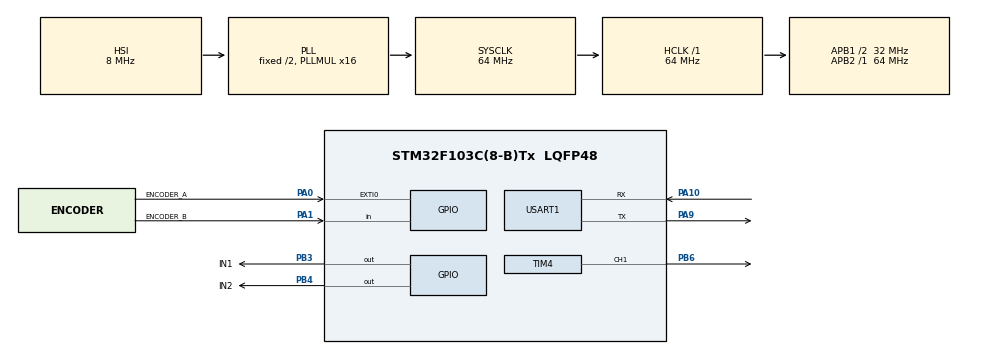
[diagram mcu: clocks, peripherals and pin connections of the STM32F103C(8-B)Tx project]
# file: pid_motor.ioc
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Dma.Request0=USART1_TX
Dma.USART1_TX.0.Direction=DMA_MEMORY_TO_PERIPH
Dma.USART1_TX.0.Instance=DMA1_Channel4
Dma.USART1_TX.0.MemDataAlignment=DMA_MDATAALIGN_BYTE
Dma.USART1_TX.0.MemInc=DMA_MINC_ENABLE
Dma.USART1_TX.0.Mode=DMA_NORMAL
Dma.USART1_TX.0.PeriphDataAlignment=DMA_PDATAALIGN_BYTE
Dma.USART1_TX.0.PeriphInc=DMA_PINC_DISABLE
Dma.USART1_TX.0.Priority=DMA_PRIORITY_LOW
Mcu.Family=STM32F1
Mcu.Name=STM32F103C(8-B)Tx
Mcu.Package=LQFP48
NVIC.DMA1_Channel4_IRQn=true\:0\:0\:false\:false\:true\:false\:true\:true
NVIC.EXTI0_IRQn=true\:1\:0\:true\:false\:true\:true\:true\:true
NVIC.PriorityGroup=NVIC_PRIORITYGROUP_4
NVIC.TIM1_UP_IRQn=true\:1\:0\:true\:false\:true\:true\:true\:true
NVIC.USART1_IRQn=true\:1\:0\:true\:false\:true\:true\:true\:true
PA0-WKUP.GPIO_Label=ENCODER_A
PA0-WKUP.GPIO_ModeDefaultEXTI=GPIO_MODE_IT_FALLING
PA0-WKUP.Signal=GPXTI0
PA1.GPIO_Label=ENCODER_B
PA1.Signal=GPIO_Input
PA10.Mode=Asynchronous
PA10.Signal=USART1_RX
PA13.Mode=Serial_Wire
PA13.Signal=SYS_JTMS-SWDIO
PA14.Mode=Serial_Wire
PA14.Signal=SYS_JTCK-SWCLK
PA9.Mode=Asynchronous
PA9.Signal=USART1_TX
PB3.GPIO_Label=IN1
PB3.GPIO_Speed=GPIO_SPEED_FREQ_HIGH
PB3.Signal=GPIO_Output
PB4.GPIO_Label=IN2
PB4.GPIO_Speed=GPIO_SPEED_FREQ_HIGH
PB4.Signal=GPIO_Output
PB6.Signal=S_TIM4_CH1
ProjectManager.HeapSize=0x200
ProjectManager.StackSize=0x400
ProjectManager.TargetToolchain=MDK-ARM V5.32
RCC.AHBFreq_Value=64000000
RCC.APB1CLKDivider=RCC_HCLK_DIV2
RCC.APB1Freq_Value=32000000
RCC.APB1TimFreq_Value=64000000
RCC.APB2Freq_Value=64000000
RCC.APB2TimFreq_Value=64000000
RCC.HCLKFreq_Value=64000000
RCC.PLLMUL=RCC_PLL_MUL16
RCC.SYSCLKFreq_VALUE=64000000
RCC.SYSCLKSource=RCC_SYSCLKSOURCE_PLLCLK
RCC.USBFreq_Value=64000000
SH.S_TIM4_CH1.0=TIM4_CH1,PWM Generation1 CH1
TIM1.Period=12800
TIM1.Prescaler=639
TIM4.Channel-PWM\ Generation1\ CH1=TIM_CHANNEL_1
TIM4.Period=99
TIM4.Prescaler=63
USART1.VirtualMode=VM_ASYNC
VP_TIM1_VS_ClockSourceINT.Mode=Internal
VP_TIM4_VS_ClockSourceINT.Mode=Internal
board=custom

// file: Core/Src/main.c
/* USER CODE BEGIN Header */
/**
  ******************************************************************************
  * @file           : main.c
  * @brief          : Main program body
  ******************************************************************************
  * @attention
  *
  * Copyright (c) 2025 STMicroelectronics.
  * All rights reserved.
  *
  * This software is licensed under terms that can be found in the LICENSE file
  * in the root directory of this software component.
  * If no LICENSE file comes with this software, it is provided AS-IS.
  *
  ******************************************************************************
  */
/* USER CODE END Header */
#include "main.h"

TIM_HandleTypeDef htim1;
TIM_HandleTypeDef htim4;

UART_HandleTypeDef huart1;
DMA_HandleTypeDef hdma_usart1_tx;

void SystemClock_Config(void);
static void MX_GPIO_Init(void);
static void MX_DMA_Init(void);
static void MX_USART1_UART_Init(void);
static void MX_TIM4_Init(void);
static void MX_TIM1_Init(void);

/* USER CODE BEGIN 0 */
void Turn_Clock_wise(void);
void Turn_Counter_Clock_wise(void);
void Stop(void);
void PWM_generate(TIM_HandleTypeDef *htim, uint32_t Channel, float duty_cycle);

#include "stdio.h"
#include "string.h"

volatile uint32_t pulse_count = 0;
volatile static  float current_pulse, prev_pulse = 0;
volatile static float speed;

volatile static float delta_t = 0.2; //Ftim
volatile float set_point = 50, Kp = 2.5, Ki = 0.2, Kd = 0.01;
volatile float output;
volatile float current_measure, err = 0, prev_err = 0;
volatile static float integral = 0, derivative = 0;

//===============Measure speed and PID handle===========================
void Speed_Control()
{
	if(output>0)
	{
		Turn_Clock_wise();
		PWM_generate(&htim4, TIM_CHANNEL_1, output);
	}
	if(output<0)
	{
		Turn_Counter_Clock_wise();
		PWM_generate(&htim4, TIM_CHANNEL_1, -output);
	}
	if(output==0)
	{
		Stop();
	}
}

void HAL_TIM_PeriodElapsedCallback(TIM_HandleTypeDef *htim)
{
	if(htim->Instance == htim1.Instance)
	{
		//Calc speed
		current_pulse = pulse_count;
		speed = ((float)(current_pulse-prev_pulse))/360/delta_t*60.0f; // RPM
		prev_pulse = current_pulse;
		//PID Handler
		current_measure = speed;
		err = set_point-current_measure;

		integral = integral+(err*delta_t);
		derivative = (err-prev_err)/delta_t;

		output = (Kp*err) + (Ki*integral) + (Kd*derivative);

		if(output > 100)
		{
			output = 100;
		}
		if(output < 0)
		{
			output = 0;
		}
		prev_err = err;
		Speed_Control();

	}
}
//===============================PWM handle================
void PWM_generate(TIM_HandleTypeDef *htim, uint32_t Channel, float duty_cycle)
{
	uint32_t arr = __HAL_TIM_GET_AUTORELOAD(htim);
	uint32_t ccr = (uint32_t)((duty_cycle * (arr + 1)) / 100.0f);
	__HAL_TIM_SET_COMPARE(htim, Channel, ccr);

//	char buff[64];
//	sprintf(buff, "out=%.1f, CCR=%lu/%lu => %.1f%%\r\n",
//       output, ccr, arr, 100.0f * ccr / (arr + 1));
//	HAL_UART_Transmit_IT(&huart1, buff, strlen(buff));
}
//===============Pulse count====================
void HAL_GPIO_EXTI_Callback(uint16_t GPIO_Pin)
{
	if(GPIO_Pin == ENCODER_A_Pin)
	{
		if(HAL_GPIO_ReadPin(GPIOA, ENCODER_B_Pin)==0)
		{
			pulse_count--;
		}
		else
		{
			pulse_count++;
		}
	}
}
//=======================Operation handle==============================
void Turn_Clock_wise()
{
	HAL_GPIO_WritePin(GPIOB, IN1_Pin, 1);
	HAL_GPIO_WritePin(GPIOB, IN2_Pin, 0);
	//HAL_GPIO_WritePin(GPIOB, ENA_Pin, 1);
}

void Turn_Counter_Clock_wise()
{
	HAL_GPIO_WritePin(GPIOB, IN1_Pin, 0);
	HAL_GPIO_WritePin(GPIOB, IN2_Pin, 1);
	//HAL_GPIO_WritePin(GPIOB, ENA_Pin, 1);
}

void Stop()
{
	HAL_GPIO_WritePin(GPIOB, IN1_Pin, 0);
	HAL_GPIO_WritePin(GPIOB, IN2_Pin, 0);
	//HAL_GPIO_WritePin(GPIOB, ENA_Pin, 0);
}
//==============DMA UART HANDLE========================
static char buff_uart[64];
void Print_uart(float set_point, uint32_t pulse_count, float speed, float err, float output)
{

	sprintf(buff_uart, "Set=%.f, Pulse=%ld, V=%.2f, err=%.2f, Out=%.2f\r\n",
						 set_point, pulse_count,speed,err,output);
	HAL_UART_Transmit_DMA(&huart1, (uint8_t*)buff_uart, strlen(buff_uart));
}

/* USER CODE END 0 */

int main(void)
{

  /* MCU Configuration--------------------------------------------------------*/

  /* Reset of all peripherals, Initializes the Flash interface and the Systick. */
  HAL_Init();

  /* Configure the system clock */
  SystemClock_Config();

  /* Initialize all configured peripherals */
  MX_GPIO_Init();
  MX_DMA_Init();
  MX_USART1_UART_Init();
  MX_TIM4_Init();
  MX_TIM1_Init();
  /* USER CODE BEGIN 2 */

  HAL_TIM_PWM_Start(&htim4, TIM_CHANNEL_1);
  HAL_TIM_Base_Start_IT(&htim1);
  //PWM_generate(&htim4, TIM_CHANNEL_1, 80);
  /* USER CODE END 2 */

  /* Infinite loop */
  while (1)
  {

    /* USER CODE BEGIN 3 */
	  Print_uart(set_point,pulse_count,speed,err,output);
	  HAL_Delay(100);
  }
  /* USER CODE END 3 */
}

void SystemClock_Config(void)
{
  RCC_OscInitTypeDef RCC_OscInitStruct = {0};
  RCC_ClkInitTypeDef RCC_ClkInitStruct = {0};

  /** Initializes the RCC Oscillators according to the specified parameters
  * in the RCC_OscInitTypeDef structure.
  */
  RCC_OscInitStruct.OscillatorType = RCC_OSCILLATORTYPE_HSI;
  RCC_OscInitStruct.HSIState = RCC_HSI_ON;
  RCC_OscInitStruct.HSICalibrationValue = RCC_HSICALIBRATION_DEFAULT;
  RCC_OscInitStruct.PLL.PLLState = RCC_PLL_ON;
  RCC_OscInitStruct.PLL.PLLSource = RCC_PLLSOURCE_HSI_DIV2;
  RCC_OscInitStruct.PLL.PLLMUL = RCC_PLL_MUL16;
  if (HAL_RCC_OscConfig(&RCC_OscInitStruct) != HAL_OK)
  {
    Error_Handler();
  }

  /** Initializes the CPU, AHB and APB buses clocks
  */
  RCC_ClkInitStruct.ClockType = RCC_CLOCKTYPE_HCLK|RCC_CLOCKTYPE_SYSCLK
                              |RCC_CLOCKTYPE_PCLK1|RCC_CLOCKTYPE_PCLK2;
  RCC_ClkInitStruct.SYSCLKSource = RCC_SYSCLKSOURCE_PLLCLK;
  RCC_ClkInitStruct.AHBCLKDivider = RCC_SYSCLK_DIV1;
  RCC_ClkInitStruct.APB1CLKDivider = RCC_HCLK_DIV2;
  RCC_ClkInitStruct.APB2CLKDivider = RCC_HCLK_DIV1;

  if (HAL_RCC_ClockConfig(&RCC_ClkInitStruct, FLASH_LATENCY_2) != HAL_OK)
  {
    Error_Handler();
  }
}

static void MX_TIM1_Init(void)
{

  TIM_ClockConfigTypeDef sClockSourceConfig = {0};
  TIM_MasterConfigTypeDef sMasterConfig = {0};

  htim1.Instance = TIM1;
  htim1.Init.Prescaler = 639;
  htim1.Init.CounterMode = TIM_COUNTERMODE_UP;
  htim1.Init.Period = 12800;
  htim1.Init.ClockDivision = TIM_CLOCKDIVISION_DIV1;
  htim1.Init.RepetitionCounter = 0;
  htim1.Init.AutoReloadPreload = TIM_AUTORELOAD_PRELOAD_DISABLE;
  if (HAL_TIM_Base_Init(&htim1) != HAL_OK)
  {
    Error_Handler();
  }
  sClockSourceConfig.ClockSource = TIM_CLOCKSOURCE_INTERNAL;
  if (HAL_TIM_ConfigClockSource(&htim1, &sClockSourceConfig) != HAL_OK)
  {
    Error_Handler();
  }
  sMasterConfig.MasterOutputTrigger = TIM_TRGO_RESET;
  sMasterConfig.MasterSlaveMode = TIM_MASTERSLAVEMODE_DISABLE;
  if (HAL_TIMEx_MasterConfigSynchronization(&htim1, &sMasterConfig) != HAL_OK)
  {
    Error_Handler();
  }

}

static void MX_TIM4_Init(void)
{

  TIM_ClockConfigTypeDef sClockSourceConfig = {0};
  TIM_MasterConfigTypeDef sMasterConfig = {0};
  TIM_OC_InitTypeDef sConfigOC = {0};

  htim4.Instance = TIM4;
  htim4.Init.Prescaler = 63;
  htim4.Init.CounterMode = TIM_COUNTERMODE_UP;
  htim4.Init.Period = 99;
  htim4.Init.ClockDivision = TIM_CLOCKDIVISION_DIV1;
  htim4.Init.AutoReloadPreload = TIM_AUTORELOAD_PRELOAD_DISABLE;
  if (HAL_TIM_Base_Init(&htim4) != HAL_OK)
  {
    Error_Handler();
  }
  sClockSourceConfig.ClockSource = TIM_CLOCKSOURCE_INTERNAL;
  if (HAL_TIM_ConfigClockSource(&htim4, &sClockSourceConfig) != HAL_OK)
  {
    Error_Handler();
  }
  if (HAL_TIM_PWM_Init(&htim4) != HAL_OK)
  {
    Error_Handler();
  }
  sMasterConfig.MasterOutputTrigger = TIM_TRGO_RESET;
  sMasterConfig.MasterSlaveMode = TIM_MASTERSLAVEMODE_DISABLE;
  if (HAL_TIMEx_MasterConfigSynchronization(&htim4, &sMasterConfig) != HAL_OK)
  {
    Error_Handler();
  }
  sConfigOC.OCMode = TIM_OCMODE_PWM1;
  sConfigOC.Pulse = 0;
  sConfigOC.OCPolarity = TIM_OCPOLARITY_HIGH;
  sConfigOC.OCFastMode = TIM_OCFAST_DISABLE;
  if (HAL_TIM_PWM_ConfigChannel(&htim4, &sConfigOC, TIM_CHANNEL_1) != HAL_OK)
  {
    Error_Handler();
  }
  HAL_TIM_MspPostInit(&htim4);

}

static void MX_USART1_UART_Init(void)
{

  huart1.Instance = USART1;
  huart1.Init.BaudRate = 115200;
  huart1.Init.WordLength = UART_WORDLENGTH_8B;
  huart1.Init.StopBits = UART_STOPBITS_1;
  huart1.Init.Parity = UART_PARITY_NONE;
  huart1.Init.Mode = UART_MODE_TX_RX;
  huart1.Init.HwFlowCtl = UART_HWCONTROL_NONE;
  huart1.Init.OverSampling = UART_OVERSAMPLING_16;
  if (HAL_UART_Init(&huart1) != HAL_OK)
  {
    Error_Handler();
  }

}

static void MX_DMA_Init(void)
{

  /* DMA controller clock enable */
  __HAL_RCC_DMA1_CLK_ENABLE();

  /* DMA interrupt init */
  /* DMA1_Channel4_IRQn interrupt configuration */
  HAL_NVIC_SetPriority(DMA1_Channel4_IRQn, 0, 0);
  HAL_NVIC_EnableIRQ(DMA1_Channel4_IRQn);

}

static void MX_GPIO_Init(void)
{
  GPIO_InitTypeDef GPIO_InitStruct = {0};

  /* GPIO Ports Clock Enable */
  __HAL_RCC_GPIOA_CLK_ENABLE();
  __HAL_RCC_GPIOB_CLK_ENABLE();

  /*Configure GPIO pin Output Level */
  HAL_GPIO_WritePin(GPIOB, IN1_Pin|IN2_Pin, GPIO_PIN_RESET);

  /*Configure GPIO pin : ENCODER_A_Pin */
  GPIO_InitStruct.Pin = ENCODER_A_Pin;
  GPIO_InitStruct.Mode = GPIO_MODE_IT_FALLING;
  GPIO_InitStruct.Pull = GPIO_NOPULL;
  HAL_GPIO_Init(ENCODER_A_GPIO_Port, &GPIO_InitStruct);

  /*Configure GPIO pin : ENCODER_B_Pin */
  GPIO_InitStruct.Pin = ENCODER_B_Pin;
  GPIO_InitStruct.Mode = GPIO_MODE_INPUT;
  GPIO_InitStruct.Pull = GPIO_NOPULL;
  HAL_GPIO_Init(ENCODER_B_GPIO_Port, &GPIO_InitStruct);

  /*Configure GPIO pins : IN1_Pin IN2_Pin */
  GPIO_InitStruct.Pin = IN1_Pin|IN2_Pin;
  GPIO_InitStruct.Mode = GPIO_MODE_OUTPUT_PP;
  GPIO_InitStruct.Pull = GPIO_NOPULL;
  GPIO_InitStruct.Speed = GPIO_SPEED_FREQ_HIGH;
  HAL_GPIO_Init(GPIOB, &GPIO_InitStruct);

  /* EXTI interrupt init*/
  HAL_NVIC_SetPriority(EXTI0_IRQn, 1, 0);
  HAL_NVIC_EnableIRQ(EXTI0_IRQn);

}

void Error_Handler(void)
{
  __disable_irq();
  while (1)
  {
  }
}
